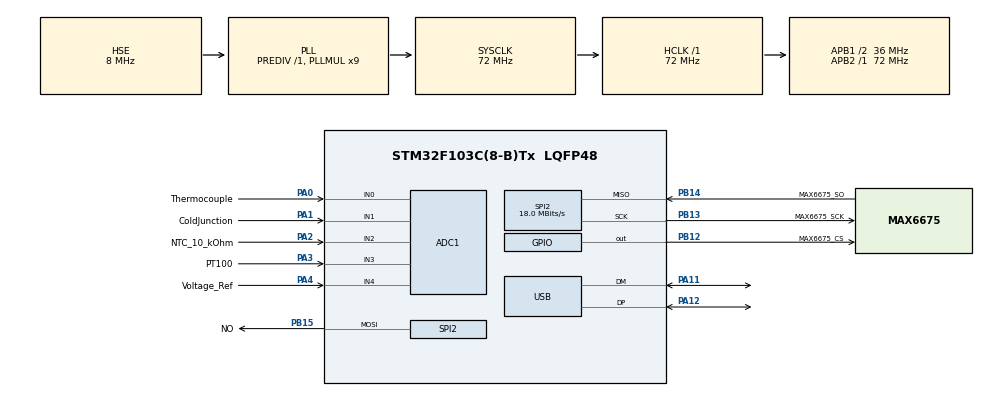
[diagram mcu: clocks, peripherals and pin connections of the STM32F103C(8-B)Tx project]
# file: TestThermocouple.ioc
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ADC1.Channel-0\#ChannelRegularConversion=ADC_CHANNEL_0
ADC1.NbrOfConversionFlag=1
ADC1.Rank-0\#ChannelRegularConversion=1
ADC1.SamplingTime-0\#ChannelRegularConversion=ADC_SAMPLETIME_28CYCLES_5
ADC1.master=1
Mcu.Family=STM32F1
Mcu.Name=STM32F103C(8-B)Tx
Mcu.Package=LQFP48
NVIC.PriorityGroup=NVIC_PRIORITYGROUP_4
NVIC.USB_LP_CAN1_RX0_IRQn=true\:0\:0\:false\:false\:true\:false\:true\:true
PA0-WKUP.GPIO_Label=Thermocouple
PA0-WKUP.Signal=ADCx_IN0
PA1.GPIO_Label=ColdJunction
PA1.Signal=ADCx_IN1
PA11.Mode=Device
PA11.Signal=USB_DM
PA12.Mode=Device
PA12.Signal=USB_DP
PA2.GPIO_Label=NTC_10_kOhm
PA2.Signal=ADCx_IN2
PA3.GPIO_Label=PT100
PA3.GPIO_Mode=GPIO_MODE_ANALOG
PA3.Signal=ADCx_IN3
PA4.GPIO_Label=Voltage_Ref
PA4.Signal=ADCx_IN4
PB12.GPIO_Label=MAX6675_CS
PB12.GPIO_Speed=GPIO_SPEED_FREQ_HIGH
PB12.Signal=GPIO_Output
PB13.GPIO_Label=MAX6675_SCK
PB13.Mode=Full_Duplex_Master
PB13.Signal=SPI2_SCK
PB14.GPIO_Label=MAX6675_SO
PB14.Mode=Full_Duplex_Master
PB14.Signal=SPI2_MISO
PB15.GPIO_Label=NO
PB15.Mode=Full_Duplex_Master
PB15.Signal=SPI2_MOSI
PD0-OSC_IN.Mode=HSE-External-Oscillator
PD0-OSC_IN.Signal=RCC_OSC_IN
PD1-OSC_OUT.Mode=HSE-External-Oscillator
PD1-OSC_OUT.Signal=RCC_OSC_OUT
ProjectManager.HeapSize=0x200
ProjectManager.StackSize=0x400
ProjectManager.TargetToolchain=STM32CubeIDE
RCC.ADCPresc=RCC_ADCPCLK2_DIV6
RCC.AHBFreq_Value=72000000
RCC.APB1CLKDivider=RCC_HCLK_DIV2
RCC.APB1Freq_Value=36000000
RCC.APB1TimFreq_Value=72000000
RCC.APB2Freq_Value=72000000
RCC.APB2TimFreq_Value=72000000
RCC.HCLKFreq_Value=72000000
RCC.PLLMUL=RCC_PLL_MUL9
RCC.SYSCLKFreq_VALUE=72000000
RCC.SYSCLKSource=RCC_SYSCLKSOURCE_PLLCLK
RCC.USBFreq_Value=48000000
RCC.USBPrescaler=RCC_USBCLKSOURCE_PLL_DIV1_5
SH.ADCx_IN0.0=ADC1_IN0,IN0
SH.ADCx_IN1.0=ADC1_IN1,IN1
SH.ADCx_IN2.0=ADC1_IN2,IN2
SH.ADCx_IN3.0=ADC1_IN3,IN3
SH.ADCx_IN4.0=ADC1_IN4,IN4
SPI2.BaudRatePrescaler=SPI_BAUDRATEPRESCALER_2
SPI2.CalculateBaudRate=18.0 MBits/s
SPI2.Direction=SPI_DIRECTION_2LINES
SPI2.Mode=SPI_MODE_MASTER
SPI2.VirtualType=VM_MASTER
USB_DEVICE.CLASS_NAME_FS=CDC
USB_DEVICE.VirtualMode=Cdc
USB_DEVICE.VirtualModeFS=Cdc_FS
VP_SYS_VS_ND.Mode=No_Debug
VP_USB_DEVICE_VS_USB_DEVICE_CDC_FS.Mode=CDC_FS
board=custom

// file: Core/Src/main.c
/* USER CODE BEGIN Header */
/**
  ******************************************************************************
  * @file           : main.c
  * @brief          : Main program body
  ******************************************************************************
  * @attention
  *
  * Copyright (c) 2026 STMicroelectronics.
  * All rights reserved.
  *
  * This software is licensed under terms that can be found in the LICENSE file
  * in the root directory of this software component.
  * If no LICENSE file comes with this software, it is provided AS-IS.
  *
  ******************************************************************************
  */
/* USER CODE END Header */
#include "main.h"
#include "usb_device.h"

/* USER CODE BEGIN Includes */
#include "stdio.h"
#include "thermocouple.h"
#include "usbd_cdc_if.h"
/* USER CODE END Includes */

ADC_HandleTypeDef hadc1;

SPI_HandleTypeDef hspi2;

/* USER CODE BEGIN PV */
char str_rx[128];
char str_tx[128];
extern const uint16_t __thermK[551];
extern const uint16_t PT100x100[351];
extern const uint16_t NTC10K[51];

ThermocoupleStruct ThermKstruct;
ThermocoupleStruct NTCstruct;
ThermocoupleStruct PTCstruct;
/* USER CODE END PV */

void SystemClock_Config(void);
static void MX_GPIO_Init(void);
static void MX_ADC1_Init(void);
static void MX_SPI2_Init(void);

int main(void)
{

  /* MCU Configuration--------------------------------------------------------*/

  /* Reset of all peripherals, Initializes the Flash interface and the Systick. */
  HAL_Init();

  /* Configure the system clock */
  SystemClock_Config();

  /* Initialize all configured peripherals */
  MX_GPIO_Init();
  MX_ADC1_Init();
  MX_SPI2_Init();
  MX_USB_DEVICE_Init();
  /* USER CODE BEGIN 2 */
  /* Настройка АЦП для измерения температуры */
  /* Configuring the ADC for temperature measurement */
  SetADC(&hadc1, ADC1);

  /* Задержка для стабилизации питания */
  /* Power stabilization delay */
  HAL_Delay(100);

  /* Настройка внешнего источника опорного напряжения */
  /* Configuring an external reference voltage source */
  SetVRef(2.495, ADC_CHANNEL_4);

  /* Настройка измерения температуры с помощью термопары и АЦП микроконтроллера */
  /* Configuring temperature measurement using a thermocouple and a microcontroller ADC */
  SetThermocouple(&ThermKstruct, 300, RCJ_ON, GetADC(ADC_CHANNEL_0), ADC_CHANNEL_0, __thermK, sizeof(__thermK));

  /* Настройка измерения реальной температуры холодного спая */
  /* Configuration of actual cold junction temperature measurement */
  SetTermColdJunc(&ThermKstruct, ADC_CHANNEL_1, NTC10K, sizeof(NTC10K), 4700, NTC);

  /* Настройка SPI для связи с микросхемой MAX6675 */
  /* Configuring SPI for communication with the MAX6675 chip */
  SetSPI(&hspi2, SPI2);

  /* Настройка измерения температуры с микросхемы MAX6675 */
  /* Configuring temperature measurement using the MAX6675 chip */
  SetMAX6675(&ThermKstruct, GPIOB, GPIO_PIN_12);

  /* Настройка измерения температуры с помощью NTC термистора и АЦП микроконтроллера */
  /* Configuring temperature measurement using a NTC thermistor and a microcontroller ADC */
  SetThermistor(&NTCstruct, NTC10K, sizeof(NTC10K), 4700, NTC, ADC_CHANNEL_2);

  /* Настройка измерения температуры с помощью PTC термистора и АЦП микроконтроллера */
  /* Configuring temperature measurement using a PTC thermistor and a microcontroller ADC */
  SetThermistor(&PTCstruct, PT100x100, sizeof(PT100x100), 47000, PTC, ADC_CHANNEL_3);
  /* USER CODE END 2 */

  /* Infinite loop */
  /* USER CODE BEGIN WHILE */
  while (1)
  {
    /* Запись в строку результатов измерения */
    /* Writing to the measurement results line */
  		sprintf(str_tx, "Temperature %d%cC   |   MAX6675 %d%cC   |   NTC %d%cC   |   PTC %d%cC\r", \
  								/* Измерение термопарой и АЦП / Thermocouple and ADC measurement */\
													Get_temperature(&ThermKstruct, THREM_K), 0xB0, \
					/* Измерение термопарой и MAX6675 / Thermocouple and MAX6675 measurement */    \
													Get_temperature(&ThermKstruct, MAX6675), 0xB0, \
						/* Измерение NTC термистором и АЦП / NTC thermistor and ADC measurement */ \
													Get_temperature(&NTCstruct, THERMISTOR), 0xB0, \
						/* Измерение PTC термистором и АЦП / PTC thermistor and ADC measurement */ \
													Get_temperature(&PTCstruct, THERMISTOR) - 34, 0xB0);

  	  /* Отправка результатов измерения в терминал посредством USB CDC */
  	  /* Sending measurement results to the terminal via USB CDC. */
  		CDC_Transmit_FS((unsigned char *)str_tx, strlen((const char *)str_tx));

  	  /* Пауза 0.5с */
  	  /* 0.5s pause */
  		HAL_Delay(500);
    /* USER CODE END WHILE */

  }
}

void SystemClock_Config(void)
{
  RCC_OscInitTypeDef RCC_OscInitStruct = {0};
  RCC_ClkInitTypeDef RCC_ClkInitStruct = {0};
  RCC_PeriphCLKInitTypeDef PeriphClkInit = {0};

  /** Initializes the RCC Oscillators according to the specified parameters
  * in the RCC_OscInitTypeDef structure.
  */
  RCC_OscInitStruct.OscillatorType = RCC_OSCILLATORTYPE_HSE;
  RCC_OscInitStruct.HSEState = RCC_HSE_ON;
  RCC_OscInitStruct.HSEPredivValue = RCC_HSE_PREDIV_DIV1;
  RCC_OscInitStruct.HSIState = RCC_HSI_ON;
  RCC_OscInitStruct.PLL.PLLState = RCC_PLL_ON;
  RCC_OscInitStruct.PLL.PLLSource = RCC_PLLSOURCE_HSE;
  RCC_OscInitStruct.PLL.PLLMUL = RCC_PLL_MUL9;
  if (HAL_RCC_OscConfig(&RCC_OscInitStruct) != HAL_OK)
  {
    Error_Handler();
  }

  /** Initializes the CPU, AHB and APB buses clocks
  */
  RCC_ClkInitStruct.ClockType = RCC_CLOCKTYPE_HCLK|RCC_CLOCKTYPE_SYSCLK
                              |RCC_CLOCKTYPE_PCLK1|RCC_CLOCKTYPE_PCLK2;
  RCC_ClkInitStruct.SYSCLKSource = RCC_SYSCLKSOURCE_PLLCLK;
  RCC_ClkInitStruct.AHBCLKDivider = RCC_SYSCLK_DIV1;
  RCC_ClkInitStruct.APB1CLKDivider = RCC_HCLK_DIV2;
  RCC_ClkInitStruct.APB2CLKDivider = RCC_HCLK_DIV1;

  if (HAL_RCC_ClockConfig(&RCC_ClkInitStruct, FLASH_LATENCY_2) != HAL_OK)
  {
    Error_Handler();
  }
  PeriphClkInit.PeriphClockSelection = RCC_PERIPHCLK_ADC|RCC_PERIPHCLK_USB;
  PeriphClkInit.AdcClockSelection = RCC_ADCPCLK2_DIV6;
  PeriphClkInit.UsbClockSelection = RCC_USBCLKSOURCE_PLL_DIV1_5;
  if (HAL_RCCEx_PeriphCLKConfig(&PeriphClkInit) != HAL_OK)
  {
    Error_Handler();
  }
}

static void MX_ADC1_Init(void)
{

  ADC_ChannelConfTypeDef sConfig = {0};

  /** Common config
  */
  hadc1.Instance = ADC1;
  hadc1.Init.ScanConvMode = ADC_SCAN_DISABLE;
  hadc1.Init.ContinuousConvMode = DISABLE;
  hadc1.Init.DiscontinuousConvMode = DISABLE;
  hadc1.Init.ExternalTrigConv = ADC_SOFTWARE_START;
  hadc1.Init.DataAlign = ADC_DATAALIGN_RIGHT;
  hadc1.Init.NbrOfConversion = 1;
  if (HAL_ADC_Init(&hadc1) != HAL_OK)
  {
    Error_Handler();
  }

  /** Configure Regular Channel
  */
  sConfig.Channel = ADC_CHANNEL_0;
  sConfig.Rank = ADC_REGULAR_RANK_1;
  sConfig.SamplingTime = ADC_SAMPLETIME_28CYCLES_5;
  if (HAL_ADC_ConfigChannel(&hadc1, &sConfig) != HAL_OK)
  {
    Error_Handler();
  }

}

static void MX_SPI2_Init(void)
{

  /* SPI2 parameter configuration*/
  hspi2.Instance = SPI2;
  hspi2.Init.Mode = SPI_MODE_MASTER;
  hspi2.Init.Direction = SPI_DIRECTION_2LINES;
  hspi2.Init.DataSize = SPI_DATASIZE_8BIT;
  hspi2.Init.CLKPolarity = SPI_POLARITY_LOW;
  hspi2.Init.CLKPhase = SPI_PHASE_1EDGE;
  hspi2.Init.NSS = SPI_NSS_SOFT;
  hspi2.Init.BaudRatePrescaler = SPI_BAUDRATEPRESCALER_2;
  hspi2.Init.FirstBit = SPI_FIRSTBIT_MSB;
  hspi2.Init.TIMode = SPI_TIMODE_DISABLE;
  hspi2.Init.CRCCalculation = SPI_CRCCALCULATION_DISABLE;
  hspi2.Init.CRCPolynomial = 10;
  if (HAL_SPI_Init(&hspi2) != HAL_OK)
  {
    Error_Handler();
  }

}

static void MX_GPIO_Init(void)
{
  GPIO_InitTypeDef GPIO_InitStruct = {0};

  /* GPIO Ports Clock Enable */
  __HAL_RCC_GPIOD_CLK_ENABLE();
  __HAL_RCC_GPIOA_CLK_ENABLE();
  __HAL_RCC_GPIOB_CLK_ENABLE();

  /*Configure GPIO pin Output Level */
  HAL_GPIO_WritePin(MAX6675_CS_GPIO_Port, MAX6675_CS_Pin, GPIO_PIN_RESET);

  /*Configure GPIO pin : MAX6675_CS_Pin */
  GPIO_InitStruct.Pin = MAX6675_CS_Pin;
  GPIO_InitStruct.Mode = GPIO_MODE_OUTPUT_PP;
  GPIO_InitStruct.Pull = GPIO_NOPULL;
  GPIO_InitStruct.Speed = GPIO_SPEED_FREQ_HIGH;
  HAL_GPIO_Init(MAX6675_CS_GPIO_Port, &GPIO_InitStruct);

}

void Error_Handler(void)
{
  __disable_irq();
  while (1)
  {
  }
}
